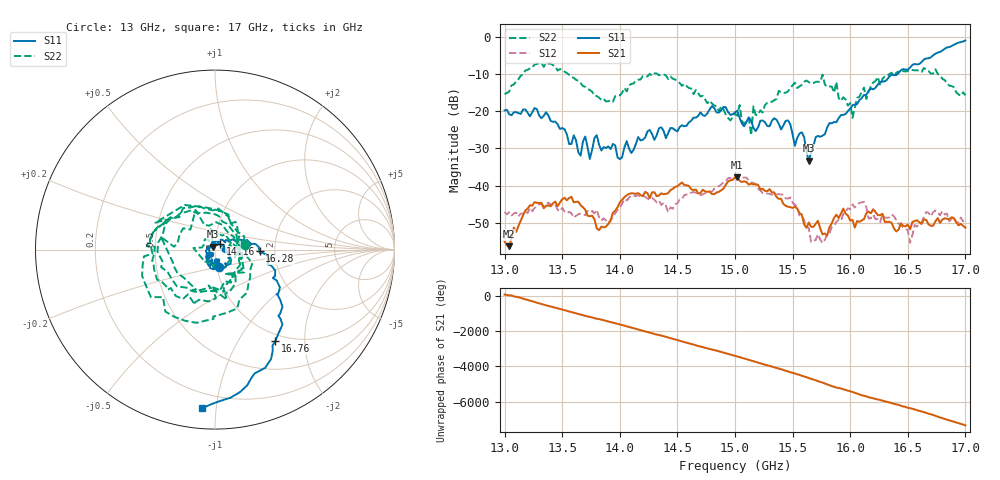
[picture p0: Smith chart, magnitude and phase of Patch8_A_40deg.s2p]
!Keysight Technologies,P9374A,MY57211810,A.19.30.04
!Date: Friday, May 09, 2025 09:22:08
!Correction: S11(Cdelta 2-Port  )
!S21(Cdelta 2-Port  )
!S12(Cdelta 2-Port  )
!S22(Cdelta 2-Port  )
!S2P File: Measurements: S11, S21, S12, S22:
# Hz S  dB  R 50
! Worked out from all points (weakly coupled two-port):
!   201 points, 13 GHz to 17 GHz, reference 50 ohm
!   highest |S21| = -37.75 dB at 15.02 GHz (marker M1); lowest = -56.3 dB at 13.04 GHz (marker M2)
!   lowest |S11| = -33.4 dB at 15.64 GHz (marker M3), VSWR 1.04, Z = 48.7 + j1.65 ohm
!   |S11| at or under -10 dB: start of sweep to 16.41 GHz
!   |S22| runs from -26.5 to -7.0 dB; largest |S21 - S12| = 0.0056
!   S11 on the Smith chart (normalised r, x): 13 GHz: 1.02, -0.21; 14.16 GHz: 1.06, +0.07; 16.28 GHz: 1.66, -0.03; 16.76 GHz: 0.89, -1.46; 17 GHz: 0.11, -0.91
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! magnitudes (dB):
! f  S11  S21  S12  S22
! 13 GHz  -19.8  -55.0  -47.1  -15.5
! 13.04 GHz  -20.8  -56.3  -47.1  -14.8
! 13.26 GHz  -19.2  -44.5  -46.0  -7.5
! 13.68 GHz  -28.2  -45.8  -47.9  -13.3
! 13.82 GHz  -29.0  -52.0  -48.5  -16.4
! 14 GHz  -32.9  -44.6  -46.0  -15.8
! 14.16 GHz  -27.0  -42.0  -42.6  -11.6
! 14.34 GHz  -24.6  -42.7  -44.0  -10.4
! 15 GHz  -20.4  -37.8  -37.8  -20.7
! 15.02 GHz  -19.9  -37.7  -37.5  -21.2
! 15.14 GHz  -22.6  -39.5  -39.2  -26.5
! 15.16 GHz  -24.5  -39.7  -39.3  -18.7
! 15.46 GHz  -22.5  -45.7  -43.5  -14.7
! 15.64 GHz  -33.4  -49.9  -51.3  -12.2
! 15.68 GHz  -29.5  -51.1  -54.7  -12.5
! 15.88 GHz  -23.0  -47.8  -49.7  -12.2
! 16.02 GHz  -18.4  -49.2  -45.0  -21.8
! 16.28 GHz  -12.1  -47.6  -47.8  -11.3
! 16.34 GHz  -10.7  -49.7  -48.5  -10.0
! 16.52 GHz  -8.3  -51.7  -55.4  -8.8
! 16.76 GHz  -4.3  -48.8  -47.2  -10.0
! 17 GHz  -1.0  -51.3  -49.2  -15.8
